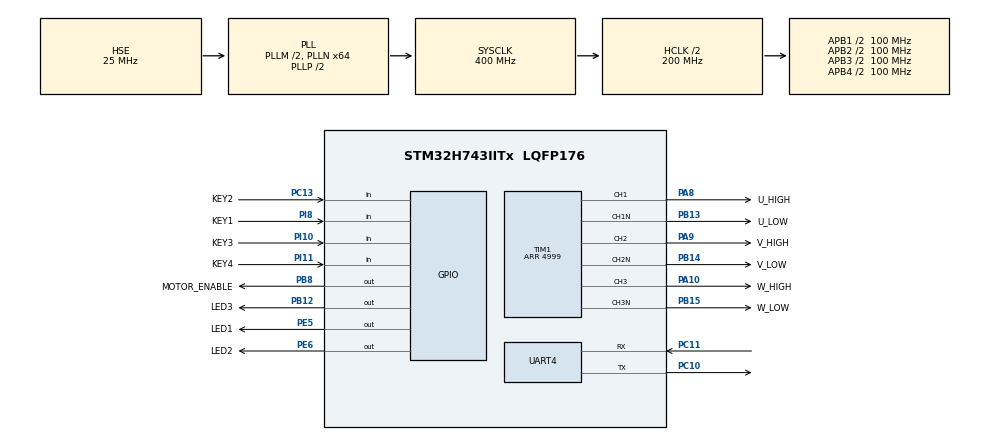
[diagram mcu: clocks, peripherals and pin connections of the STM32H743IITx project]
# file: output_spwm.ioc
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CORTEX_M7.AccessPermission_Spec=MPU_REGION_FULL_ACCESS
CORTEX_M7.BaseAddress_Spec=0x24000000
CORTEX_M7.CPU_DCache=Enabled
CORTEX_M7.CPU_ICache=Enabled
CORTEX_M7.DisableExec_Spec=MPU_INSTRUCTION_ACCESS_ENABLE
CORTEX_M7.IsCacheable_Spec=MPU_ACCESS_CACHEABLE
CORTEX_M7.IsShareable_Spec=MPU_ACCESS_SHAREABLE
CORTEX_M7.MPU_Control=MPU_HFNMI_PRIVDEF
CORTEX_M7.Size_Spec=MPU_REGION_SIZE_512KB
CORTEX_M7.SubRegionDisable_Spec=0x00
CORTEX_M7.default_mode_Activation=1
Dma.Request0=UART4_RX
Dma.UART4_RX.0.Direction=DMA_PERIPH_TO_MEMORY
Dma.UART4_RX.0.EventEnable=DISABLE
Dma.UART4_RX.0.FIFOMode=DMA_FIFOMODE_DISABLE
Dma.UART4_RX.0.Instance=DMA1_Stream0
Dma.UART4_RX.0.MemDataAlignment=DMA_MDATAALIGN_BYTE
Dma.UART4_RX.0.MemInc=DMA_MINC_ENABLE
Dma.UART4_RX.0.Mode=DMA_NORMAL
Dma.UART4_RX.0.PeriphDataAlignment=DMA_PDATAALIGN_BYTE
Dma.UART4_RX.0.PeriphInc=DMA_PINC_DISABLE
Dma.UART4_RX.0.Polarity=HAL_DMAMUX_REQ_GEN_RISING
Dma.UART4_RX.0.Priority=DMA_PRIORITY_LOW
Dma.UART4_RX.0.RequestNumber=1
Dma.UART4_RX.0.SignalID=NONE
Dma.UART4_RX.0.SyncEnable=DISABLE
Dma.UART4_RX.0.SyncPolarity=HAL_DMAMUX_SYNC_NO_EVENT
Dma.UART4_RX.0.SyncRequestNumber=1
Dma.UART4_RX.0.SyncSignalID=NONE
Mcu.Family=STM32H7
Mcu.Name=STM32H743IITx
Mcu.Package=LQFP176
NVIC.DMA1_Stream0_IRQn=true\:0\:0\:false\:false\:true\:false\:true\:true
NVIC.PriorityGroup=NVIC_PRIORITYGROUP_3
NVIC.TIM1_BRK_IRQn=true\:0\:0\:false\:false\:true\:true\:true\:true
NVIC.TIM1_CC_IRQn=true\:0\:0\:false\:false\:true\:true\:true\:true
NVIC.TIM1_TRG_COM_IRQn=true\:0\:0\:false\:false\:true\:true\:true\:true
NVIC.TIM1_UP_IRQn=true\:0\:0\:false\:false\:true\:true\:true\:true
NVIC.UART4_IRQn=true\:1\:1\:true\:false\:true\:true\:true\:true
PA10.GPIO_Label=W_HIGH
PA10.GPIO_Speed=GPIO_SPEED_FREQ_HIGH
PA10.Signal=S_TIM1_CH3
PA13\ (JTMS/SWDIO).Mode=Serial_Wire
PA13\ (JTMS/SWDIO).Signal=DEBUG_JTMS-SWDIO
PA14\ (JTCK/SWCLK).Mode=Serial_Wire
PA14\ (JTCK/SWCLK).Signal=DEBUG_JTCK-SWCLK
PA8.GPIO_Label=U_HIGH
PA8.GPIO_Speed=GPIO_SPEED_FREQ_HIGH
PA8.Signal=S_TIM1_CH1
PA9.GPIO_Label=V_HIGH
PA9.GPIO_Speed=GPIO_SPEED_FREQ_HIGH
PA9.Signal=S_TIM1_CH2
PB12.GPIO_Label=LED3
PB12.Signal=GPIO_Output
PB13.GPIO_Label=U_LOW
PB13.GPIO_Speed=GPIO_SPEED_FREQ_HIGH
PB13.Mode=PWM Generation1 CH1 CH1N
PB13.Signal=TIM1_CH1N
PB14.GPIO_Label=V_LOW
PB14.GPIO_Speed=GPIO_SPEED_FREQ_HIGH
PB14.Mode=PWM Generation2 CH2 CH2N
PB14.Signal=TIM1_CH2N
PB15.GPIO_Label=W_LOW
PB15.GPIO_Speed=GPIO_SPEED_FREQ_HIGH
PB15.Mode=PWM Generation3 CH3 CH3N
PB15.Signal=TIM1_CH3N
PB8.GPIO_Label=MOTOR_ENABLE
PB8.GPIO_Speed=GPIO_SPEED_FREQ_HIGH
PB8.Signal=GPIO_Output
PC10.Mode=Asynchronous
PC10.Signal=UART4_TX
PC11.Mode=Asynchronous
PC11.Signal=UART4_RX
PC13.GPIO_Label=KEY2
PC13.Signal=GPIO_Input
PE5.GPIO_Label=LED1
PE5.Signal=GPIO_Output
PE6.GPIO_Label=LED2
PE6.Signal=GPIO_Output
PH0-OSC_IN\ (PH0).Mode=HSE-External-Oscillator
PH0-OSC_IN\ (PH0).Signal=RCC_OSC_IN
PH1-OSC_OUT\ (PH1).Mode=HSE-External-Oscillator
PH1-OSC_OUT\ (PH1).Signal=RCC_OSC_OUT
PI10.GPIO_Label=KEY3
PI10.Signal=GPIO_Input
PI11.GPIO_Label=KEY4
PI11.Signal=GPIO_Input
PI8.GPIO_Label=KEY1
PI8.Signal=GPIO_Input
ProjectManager.HeapSize=0x200
ProjectManager.StackSize=0x400
ProjectManager.TargetToolchain=MDK-ARM V5.32
RCC.ADCFreq_Value=50390625
RCC.APB1Freq_Value=100000000
RCC.APB2Freq_Value=100000000
RCC.APB3Freq_Value=100000000
RCC.APB4Freq_Value=100000000
RCC.CortexFreq_Value=400000000
RCC.D1PPRE=RCC_APB3_DIV2
RCC.D2PPRE1=RCC_APB1_DIV2
RCC.D2PPRE2=RCC_APB2_DIV2
RCC.D3PPRE=RCC_APB4_DIV2
RCC.DIVM1=2
RCC.DIVN1=64
RCC.HCLKFreq_Value=200000000
RCC.HPRE=RCC_HCLK_DIV2
RCC.PLL2FRACN=0
RCC.PLL3FRACN=0
RCC.PLLFRACN=0
RCC.PLLSourceVirtual=RCC_PLLSOURCE_HSE
RCC.PWR_Regulator_Voltage_Scale=PWR_REGULATOR_VOLTAGE_SCALE0
RCC.SYSCLKFreq_VALUE=400000000
RCC.SYSCLKSource=RCC_SYSCLKSOURCE_PLLCLK
RCC.USBFreq_Value=400000000
SH.S_TIM1_CH1.0=TIM1_CH1,PWM Generation1 CH1 CH1N
SH.S_TIM1_CH2.0=TIM1_CH2,PWM Generation2 CH2 CH2N
SH.S_TIM1_CH3.0=TIM1_CH3,PWM Generation3 CH3 CH3N
STMicroelectronics.X-CUBE-ALGOBUILD.1.3.0.LibraryCcDSPOoLibraryJjDSPOoLibrary=true
TIM1.AutoReloadPreload=TIM_AUTORELOAD_PRELOAD_ENABLE
TIM1.BreakState=TIM_BREAK_ENABLE
TIM1.Channel-PWM\ Generation1\ CH1\ CH1N=TIM_CHANNEL_1
TIM1.Channel-PWM\ Generation2\ CH2\ CH2N=TIM_CHANNEL_2
TIM1.Channel-PWM\ Generation3\ CH3\ CH3N=TIM_CHANNEL_3
TIM1.CounterMode=TIM_COUNTERMODE_CENTERALIGNED3
TIM1.DeadTime=0x28
TIM1.OC1Preload_PWM=ENABLE
TIM1.OCFastMode_PWM-PWM\ Generation1\ CH1\ CH1N=TIM_OCFAST_DISABLE
TIM1.OCFastMode_PWM-PWM\ Generation2\ CH2\ CH2N=TIM_OCFAST_DISABLE
TIM1.OCFastMode_PWM-PWM\ Generation3\ CH3\ CH3N=TIM_OCFAST_DISABLE
TIM1.OffStateIDLEMode=TIM_OSSI_ENABLE
TIM1.OffStateRunMode=TIM_OSSR_ENABLE
TIM1.Period=4999
TIM1.RepetitionCounter=1
VP_STMicroelectronics.X-CUBE-ALGOBUILD_VS_DSPOoLibraryJjLibrary_1.3.0_1.3.0.Mode=DSPOoLibraryJjLibrary
VP_TIM1_VS_ClockSourceINT.Mode=Internal
board=custom

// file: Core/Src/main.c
/* USER CODE BEGIN Header */
/**
  ******************************************************************************
  * @file           : main.c
  * @brief          : Main program body
  ******************************************************************************
  * @attention
  *
  * Copyright (c) 2024 STMicroelectronics.
  * All rights reserved.
  *
  * This software is licensed under terms that can be found in the LICENSE file
  * in the root directory of this software component.
  * If no LICENSE file comes with this software, it is provided AS-IS.
  *
  ******************************************************************************
  */
/* USER CODE END Header */
#include "main.h"
#include "dma.h"
#include "tim.h"
#include "usart.h"
#include "gpio.h"

/* USER CODE BEGIN Includes */
#include "arm_math.h"
#include "algorithm_spwm.h"
/* USER CODE END Includes */

/* USER CODE BEGIN PV */
int32_t acceleration=1;
float32_t frequence;
float32_t max_frequence=70.f;
SPWM_HandelTypedef global_spwm;
/* USER CODE END PV */

void SystemClock_Config(void);
static void MPU_Config(void);

int main(void)
{

  /* MPU Configuration--------------------------------------------------------*/
  MPU_Config();

  /* Enable the CPU Cache */

  /* Enable I-Cache---------------------------------------------------------*/
  SCB_EnableICache();

  /* Enable D-Cache---------------------------------------------------------*/
  SCB_EnableDCache();

  /* MCU Configuration--------------------------------------------------------*/

  /* Reset of all peripherals, Initializes the Flash interface and the Systick. */
  HAL_Init();

  /* Configure the system clock */
  SystemClock_Config();

  /* Initialize all configured peripherals */
  MX_GPIO_Init();
  MX_DMA_Init();
  MX_TIM1_Init();
  MX_UART4_Init();
  /* USER CODE BEGIN 2 */
  SPWM_ParaInit(&global_spwm,400.f,0.f,0.f,PI_X2_DIV3,-PI_X2_DIV3,1.f);

  HAL_GPIO_WritePin(MOTOR_ENABLE_GPIO_Port,MOTOR_ENABLE_Pin,GPIO_PIN_SET);

  frequence=10.f;

  SPWM_Modulation(&htim1,&global_spwm,0);

  __HAL_DBGMCU_FREEZE_TIM1();

  HAL_Delay(3000);

  SPWM_Start(&htim1,&global_spwm);
  /* USER CODE END 2 */

  /* Infinite loop */
  /* USER CODE BEGIN WHILE */
  while (1)
  {
    HAL_Delay(10);
    SPWM_Modulation(&htim1,&global_spwm,frequence+=acceleration);
    if((frequence>=50.f)||frequence<=-50.f){
      global_spwm.voltage_div_frequence=0.8f;
    }
    if((frequence>=max_frequence)||(frequence<=-max_frequence)){
      frequence-=acceleration;
    }

    /* USER CODE END WHILE */

  }
}

void SystemClock_Config(void)
{
  RCC_OscInitTypeDef RCC_OscInitStruct = {0};
  RCC_ClkInitTypeDef RCC_ClkInitStruct = {0};

  /** Supply configuration update enable
  */
  HAL_PWREx_ConfigSupply(PWR_LDO_SUPPLY);

  /** Configure the main internal regulator output voltage
  */
  __HAL_PWR_VOLTAGESCALING_CONFIG(PWR_REGULATOR_VOLTAGE_SCALE1);

  while(!__HAL_PWR_GET_FLAG(PWR_FLAG_VOSRDY)) {}

  __HAL_RCC_SYSCFG_CLK_ENABLE();
  __HAL_PWR_VOLTAGESCALING_CONFIG(PWR_REGULATOR_VOLTAGE_SCALE0);

  while(!__HAL_PWR_GET_FLAG(PWR_FLAG_VOSRDY)) {}

  /** Initializes the RCC Oscillators according to the specified parameters
  * in the RCC_OscInitTypeDef structure.
  */
  RCC_OscInitStruct.OscillatorType = RCC_OSCILLATORTYPE_HSE;
  RCC_OscInitStruct.HSEState = RCC_HSE_ON;
  RCC_OscInitStruct.PLL.PLLState = RCC_PLL_ON;
  RCC_OscInitStruct.PLL.PLLSource = RCC_PLLSOURCE_HSE;
  RCC_OscInitStruct.PLL.PLLM = 2;
  RCC_OscInitStruct.PLL.PLLN = 64;
  RCC_OscInitStruct.PLL.PLLP = 2;
  RCC_OscInitStruct.PLL.PLLQ = 2;
  RCC_OscInitStruct.PLL.PLLR = 2;
  RCC_OscInitStruct.PLL.PLLRGE = RCC_PLL1VCIRANGE_3;
  RCC_OscInitStruct.PLL.PLLVCOSEL = RCC_PLL1VCOWIDE;
  RCC_OscInitStruct.PLL.PLLFRACN = 0;
  if (HAL_RCC_OscConfig(&RCC_OscInitStruct) != HAL_OK)
  {
    Error_Handler();
  }

  /** Initializes the CPU, AHB and APB buses clocks
  */
  RCC_ClkInitStruct.ClockType = RCC_CLOCKTYPE_HCLK|RCC_CLOCKTYPE_SYSCLK
                              |RCC_CLOCKTYPE_PCLK1|RCC_CLOCKTYPE_PCLK2
                              |RCC_CLOCKTYPE_D3PCLK1|RCC_CLOCKTYPE_D1PCLK1;
  RCC_ClkInitStruct.SYSCLKSource = RCC_SYSCLKSOURCE_PLLCLK;
  RCC_ClkInitStruct.SYSCLKDivider = RCC_SYSCLK_DIV1;
  RCC_ClkInitStruct.AHBCLKDivider = RCC_HCLK_DIV2;
  RCC_ClkInitStruct.APB3CLKDivider = RCC_APB3_DIV2;
  RCC_ClkInitStruct.APB1CLKDivider = RCC_APB1_DIV2;
  RCC_ClkInitStruct.APB2CLKDivider = RCC_APB2_DIV2;
  RCC_ClkInitStruct.APB4CLKDivider = RCC_APB4_DIV2;

  if (HAL_RCC_ClockConfig(&RCC_ClkInitStruct, FLASH_LATENCY_2) != HAL_OK)
  {
    Error_Handler();
  }
}

 /* MPU Configuration */

void MPU_Config(void)
{
  MPU_Region_InitTypeDef MPU_InitStruct = {0};

  /* Disables the MPU */
  HAL_MPU_Disable();

  /** Initializes and configures the Region and the memory to be protected
  */
  MPU_InitStruct.Enable = MPU_REGION_ENABLE;
  MPU_InitStruct.Number = MPU_REGION_NUMBER0;
  MPU_InitStruct.BaseAddress = 0x24000000;
  MPU_InitStruct.Size = MPU_REGION_SIZE_512KB;
  MPU_InitStruct.SubRegionDisable = 0x00;
  MPU_InitStruct.TypeExtField = MPU_TEX_LEVEL0;
  MPU_InitStruct.AccessPermission = MPU_REGION_FULL_ACCESS;
  MPU_InitStruct.DisableExec = MPU_INSTRUCTION_ACCESS_ENABLE;
  MPU_InitStruct.IsShareable = MPU_ACCESS_SHAREABLE;
  MPU_InitStruct.IsCacheable = MPU_ACCESS_CACHEABLE;
  MPU_InitStruct.IsBufferable = MPU_ACCESS_NOT_BUFFERABLE;

  HAL_MPU_ConfigRegion(&MPU_InitStruct);
  /* Enables the MPU */
  HAL_MPU_Enable(MPU_HFNMI_PRIVDEF);

}

void Error_Handler(void)
{
  __disable_irq();
  while (1)
  {
  }
}
